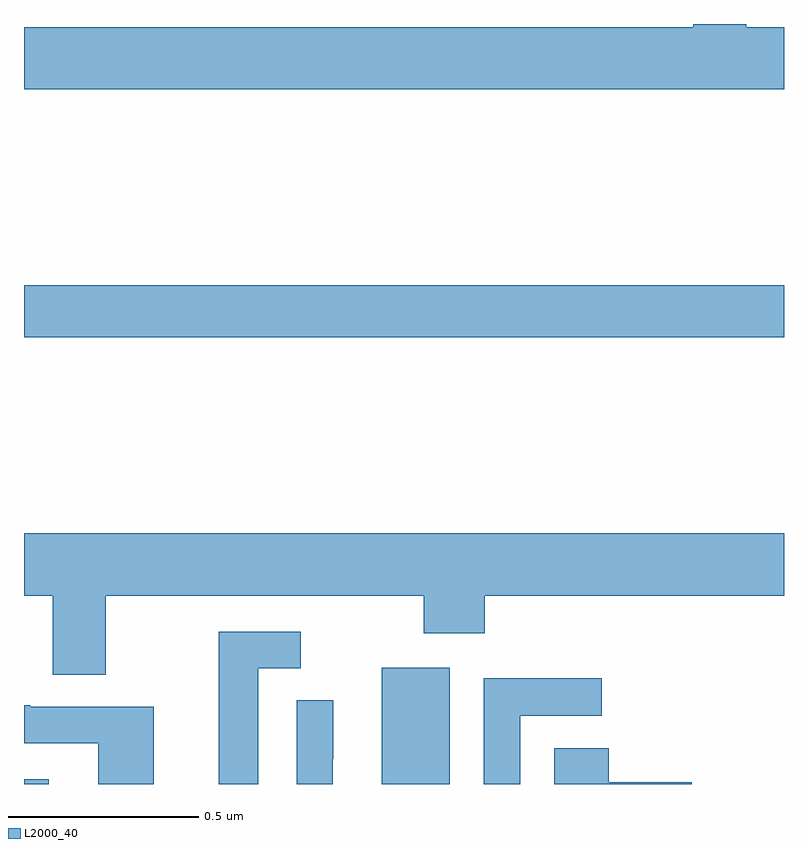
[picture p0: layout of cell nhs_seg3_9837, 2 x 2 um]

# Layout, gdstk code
import gdstk
lib = gdstk.Library(unit=1e-6, precision=1e-09)
def R(c, l, rs):  # rectangles x0, y0, x1, y1
    for r in rs: c.add(gdstk.rectangle(r[:2], r[2:], *l))
def P(c, l, *ps):  # polygons
    for p in ps: c.add(gdstk.Polygon(p, *l))
L2000_40 = (2000, 40)

nhs_seg3_9837 = lib.new_cell('nhs_seg3_9837')
R(nhs_seg3_9837, L2000_40, [(233,720.4,233.065,720.412), (233.942,720.4,234.121,720.706), (233,721.576,235,721.712)])
P(nhs_seg3_9837, L2000_40, [(235,722.392),(234.901,722.392),(234.901,722.4),(234.761,722.4),(234.761,722.392),(233,722.392),(233,722.228),(235,722.228)],
  [(233.215,720.896),(234.052,720.896),(234.052,720.797),(234.212,720.797),(234.212,720.896),(235,720.896),(235,721.06),(233,721.06),(233,720.896),(233.075,720.896),(233.075,720.688),(233.215,720.688)],
  [(233.617,720.705),(233.728,720.705),(233.728,720.801),(233.513,720.801),(233.513,720.4),(233.617,720.4)],
  [(234.306,720.579),(234.52,720.579),(234.52,720.678),(234.21,720.678),(234.21,720.4),(234.306,720.4)],
  [(233.813,720.466),(233.814,720.466),(233.814,720.62),(233.718,720.62),(233.718,720.4),(233.813,720.4)],
  [(233.341,720.603),(233.017,720.603),(233.017,720.607),(233,720.607),(233,720.507),(233.196,720.507),(233.196,720.4),(233.341,720.4)],
  [(234.757,720.404),(234.539,720.404),(234.539,720.494),(234.395,720.494),(234.395,720.4),(234.757,720.4)])

lib.write_gds('nhs_seg3_9837.gds')
